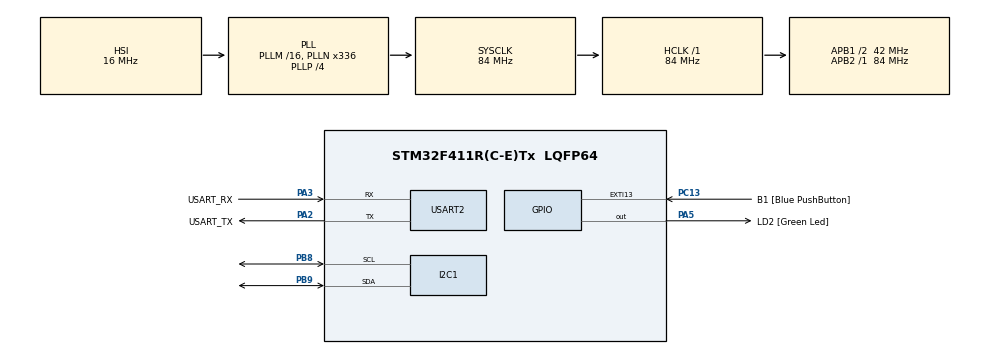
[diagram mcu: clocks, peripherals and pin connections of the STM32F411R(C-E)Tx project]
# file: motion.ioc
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Mcu.Family=STM32F4
Mcu.Name=STM32F411R(C-E)Tx
Mcu.Package=LQFP64
NVIC.PriorityGroup=NVIC_PRIORITYGROUP_0
PA13.GPIO_Label=TMS
PA13.Mode=Serial_Wire
PA13.Signal=SYS_JTMS-SWDIO
PA14.GPIO_Label=TCK
PA14.Mode=Serial_Wire
PA14.Signal=SYS_JTCK-SWCLK
PA2.GPIO_Label=USART_TX
PA2.Mode=Asynchronous
PA2.Signal=USART2_TX
PA3.GPIO_Label=USART_RX
PA3.Mode=Asynchronous
PA3.Signal=USART2_RX
PA5.GPIO_Label=LD2 [Green Led]
PA5.Signal=GPIO_Output
PB3.GPIO_Label=SWO
PB3.Signal=SYS_JTDO-SWO
PB8.Mode=I2C
PB8.Signal=I2C1_SCL
PB9.Mode=I2C
PB9.Signal=I2C1_SDA
PC13-ANTI_TAMP.GPIO_Label=B1 [Blue PushButton]
PC13-ANTI_TAMP.GPIO_ModeDefaultEXTI=GPIO_MODE_IT_FALLING
PC13-ANTI_TAMP.Signal=GPXTI13
PC14-OSC32_IN.Mode=LSE-External-Oscillator
PC14-OSC32_IN.Signal=RCC_OSC32_IN
PC15-OSC32_OUT.Mode=LSE-External-Oscillator
PC15-OSC32_OUT.Signal=RCC_OSC32_OUT
PH0\ -\ OSC_IN.Mode=HSE-External-Clock-Source
PH0\ -\ OSC_IN.Signal=RCC_OSC_IN
PH1\ -\ OSC_OUT.Mode=HSE-External-Clock-Source
PH1\ -\ OSC_OUT.Signal=RCC_OSC_OUT
ProjectManager.HeapSize=0x200
ProjectManager.StackSize=0x400
ProjectManager.TargetToolchain=STM32CubeIDE
RCC.48MHZClocksFreq_Value=84000000
RCC.AHBFreq_Value=84000000
RCC.APB1CLKDivider=RCC_HCLK_DIV2
RCC.APB1Freq_Value=42000000
RCC.APB1TimFreq_Value=84000000
RCC.APB2Freq_Value=84000000
RCC.APB2TimFreq_Value=84000000
RCC.CortexFreq_Value=84000000
RCC.FLatency-AdvancedSettings=FLASH_LATENCY_2
RCC.HCLKFreq_Value=84000000
RCC.HSE_VALUE=8000000
RCC.HSI_VALUE=16000000
RCC.PLLN=336
RCC.PLLP=RCC_PLLP_DIV4
RCC.SYSCLKFreq_VALUE=84000000
RCC.SYSCLKSource=RCC_SYSCLKSOURCE_PLLCLK
RCC.VCOOutputFreq_Value=336000000
USART2.VirtualMode=VM_ASYNC
board=NUCLEO-F411RE

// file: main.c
/* USER CODE BEGIN Header */
/**
  ******************************************************************************
  * @file           : main.c
  * @brief          : Main program body
  ******************************************************************************
  * @attention
  *
  * Copyright (c) 2024 STMicroelectronics.
  * All rights reserved.
  *
  * This software is licensed under terms that can be found in the LICENSE file
  * in the root directory of this software component.
  * If no LICENSE file comes with this software, it is provided AS-IS.
  *
  ******************************************************************************
  */
/* USER CODE END Header */
#include "main.h"
/* USER CODE BEGIN Includes */
#include "stdio.h"
#include "string.h"
#include "mpu.h"
#include "knowledge.h"
#include "NanoEdgeAI.h"
/* USER CODE END Includes */

/* USER CODE BEGIN PD */
#define AXIS_NUMBER 6
#define CLASS_NUMBER 2
#define DATA_INPUT_USER 20
#define CONFIRMATIONS_NB (uint32_t)(3)
/* USER CODE END PD */

I2C_HandleTypeDef hi2c1;

UART_HandleTypeDef huart2;

/* USER CODE BEGIN PV */
float mpu_buffer[AXIS_NUMBER * DATA_INPUT_USER] ={0};
float output_class_buffer[CLASS_NUMBER];
const char *id2class[CLASS_NUMBER + 1] = {
		"Heavy",
		"Slow",
};
/* USER CODE END PV */

void SystemClock_Config(void);
static void MX_GPIO_Init(void);
static void MX_USART2_UART_Init(void);
static void MX_I2C1_Init(void);
/* USER CODE BEGIN PFP */
int __io_putchar(int);
void fill_mpu_buffer();
void inference();
/* USER CODE END PFP */

int main(void)
{

  /* MCU Configuration--------------------------------------------------------*/

  /* Reset of all peripherals, Initializes the Flash interface and the Systick. */
  HAL_Init();

  /* USER CODE BEGIN Init */
  enum neai_state error_code = neai_classification_init(knowledge);
	if(error_code!=NEAI_OK)
	{
		printf("Knowledge initialization ERROR");
		printf("%d", error_code);
	}
	else
	{
		printf("Knowledge initialization DONE:");
	}

  /* USER CODE END Init */

  /* Configure the system clock */
  SystemClock_Config();

  /* Initialize all configured peripherals */
  MX_GPIO_Init();
  MX_USART2_UART_Init();
  MX_I2C1_Init();
  /* USER CODE BEGIN 2 */
  MPU6050_Init();
  HAL_Delay(1000);
  /* USER CODE END 2 */

  /* Infinite loop */
  /* USER CODE BEGIN WHILE */
  while (1)
  {
	  inference();
    /* USER CODE END WHILE */

  }
}

void SystemClock_Config(void)
{
  RCC_OscInitTypeDef RCC_OscInitStruct = {0};
  RCC_ClkInitTypeDef RCC_ClkInitStruct = {0};

  /** Configure the main internal regulator output voltage
  */
  __HAL_RCC_PWR_CLK_ENABLE();
  __HAL_PWR_VOLTAGESCALING_CONFIG(PWR_REGULATOR_VOLTAGE_SCALE1);

  /** Initializes the RCC Oscillators according to the specified parameters
  * in the RCC_OscInitTypeDef structure.
  */
  RCC_OscInitStruct.OscillatorType = RCC_OSCILLATORTYPE_HSI;
  RCC_OscInitStruct.HSIState = RCC_HSI_ON;
  RCC_OscInitStruct.HSICalibrationValue = RCC_HSICALIBRATION_DEFAULT;
  RCC_OscInitStruct.PLL.PLLState = RCC_PLL_ON;
  RCC_OscInitStruct.PLL.PLLSource = RCC_PLLSOURCE_HSI;
  RCC_OscInitStruct.PLL.PLLM = 16;
  RCC_OscInitStruct.PLL.PLLN = 336;
  RCC_OscInitStruct.PLL.PLLP = RCC_PLLP_DIV4;
  RCC_OscInitStruct.PLL.PLLQ = 4;
  if (HAL_RCC_OscConfig(&RCC_OscInitStruct) != HAL_OK)
  {
    Error_Handler();
  }

  /** Initializes the CPU, AHB and APB buses clocks
  */
  RCC_ClkInitStruct.ClockType = RCC_CLOCKTYPE_HCLK|RCC_CLOCKTYPE_SYSCLK
                              |RCC_CLOCKTYPE_PCLK1|RCC_CLOCKTYPE_PCLK2;
  RCC_ClkInitStruct.SYSCLKSource = RCC_SYSCLKSOURCE_PLLCLK;
  RCC_ClkInitStruct.AHBCLKDivider = RCC_SYSCLK_DIV1;
  RCC_ClkInitStruct.APB1CLKDivider = RCC_HCLK_DIV2;
  RCC_ClkInitStruct.APB2CLKDivider = RCC_HCLK_DIV1;

  if (HAL_RCC_ClockConfig(&RCC_ClkInitStruct, FLASH_LATENCY_2) != HAL_OK)
  {
    Error_Handler();
  }
}

static void MX_I2C1_Init(void)
{

  hi2c1.Instance = I2C1;
  hi2c1.Init.ClockSpeed = 100000;
  hi2c1.Init.DutyCycle = I2C_DUTYCYCLE_2;
  hi2c1.Init.OwnAddress1 = 0;
  hi2c1.Init.AddressingMode = I2C_ADDRESSINGMODE_7BIT;
  hi2c1.Init.DualAddressMode = I2C_DUALADDRESS_DISABLE;
  hi2c1.Init.OwnAddress2 = 0;
  hi2c1.Init.GeneralCallMode = I2C_GENERALCALL_DISABLE;
  hi2c1.Init.NoStretchMode = I2C_NOSTRETCH_DISABLE;
  if (HAL_I2C_Init(&hi2c1) != HAL_OK)
  {
    Error_Handler();
  }

}

static void MX_USART2_UART_Init(void)
{

  huart2.Instance = USART2;
  huart2.Init.BaudRate = 115200;
  huart2.Init.WordLength = UART_WORDLENGTH_8B;
  huart2.Init.StopBits = UART_STOPBITS_1;
  huart2.Init.Parity = UART_PARITY_NONE;
  huart2.Init.Mode = UART_MODE_TX_RX;
  huart2.Init.HwFlowCtl = UART_HWCONTROL_NONE;
  huart2.Init.OverSampling = UART_OVERSAMPLING_16;
  if (HAL_UART_Init(&huart2) != HAL_OK)
  {
    Error_Handler();
  }

}

static void MX_GPIO_Init(void)
{
  GPIO_InitTypeDef GPIO_InitStruct = {0};

  /* GPIO Ports Clock Enable */
  __HAL_RCC_GPIOC_CLK_ENABLE();
  __HAL_RCC_GPIOH_CLK_ENABLE();
  __HAL_RCC_GPIOA_CLK_ENABLE();
  __HAL_RCC_GPIOB_CLK_ENABLE();

  /*Configure GPIO pin Output Level */
  HAL_GPIO_WritePin(LD2_GPIO_Port, LD2_Pin, GPIO_PIN_RESET);

  /*Configure GPIO pin : B1_Pin */
  GPIO_InitStruct.Pin = B1_Pin;
  GPIO_InitStruct.Mode = GPIO_MODE_IT_FALLING;
  GPIO_InitStruct.Pull = GPIO_NOPULL;
  HAL_GPIO_Init(B1_GPIO_Port, &GPIO_InitStruct);

  /*Configure GPIO pin : LD2_Pin */
  GPIO_InitStruct.Pin = LD2_Pin;
  GPIO_InitStruct.Mode = GPIO_MODE_OUTPUT_PP;
  GPIO_InitStruct.Pull = GPIO_NOPULL;
  GPIO_InitStruct.Speed = GPIO_SPEED_FREQ_LOW;
  HAL_GPIO_Init(LD2_GPIO_Port, &GPIO_InitStruct);

}

/* USER CODE BEGIN 4 */
int __io_putchar(int ch)
{
	HAL_UART_Transmit(&huart2, (uint8_t *)&ch, 1, HAL_MAX_DELAY);
	return ch;
}
void fill_mpu_buffer()
{
	for(int i = 0; i < DATA_INPUT_USER; i++)
		{
			MPU6050_Read_Accel(accel_data);
//			MPU6050_Read_Gyro(gyro_data);

			mpu_buffer[AXIS_NUMBER * i]     = Ax;
			mpu_buffer[AXIS_NUMBER * i + 1] = Ay;
			mpu_buffer[AXIS_NUMBER * i + 2] = Az;

//			mpu_buffer[AXIS_NUMBER * i + 3] = Gx;
//			mpu_buffer[AXIS_NUMBER * i + 4] = Gy;
//			mpu_buffer[AXIS_NUMBER * i + 5] = Gz;

			HAL_Delay(10); // slight delay to stabilize data
		}
}
void inference()
{
	uint16_t i, id_class_t0, id_class_tn;
	fill_mpu_buffer();

	neai_classification(mpu_buffer, output_class_buffer, &id_class_t0);
	for (i = 0; i < CONFIRMATIONS_NB-1; i++) {
			fill_mpu_buffer();
			neai_classification(mpu_buffer, output_class_buffer,&id_class_tn);
			if (id_class_t0 != id_class_tn) {
				break;
			}
			if (id_class_t0 == id_class_tn){
				printf("Detected Class is:");
				printf(id2class[id_class_t0]);
				printf("\r\n");
			}
			else{
				printf("?");
				printf("\r\n");
	}

		printf("\r\n");
		HAL_Delay(10);
}
}
/* USER CODE END 4 */

void Error_Handler(void)
{
  __disable_irq();
  while (1)
  {
  }
}
